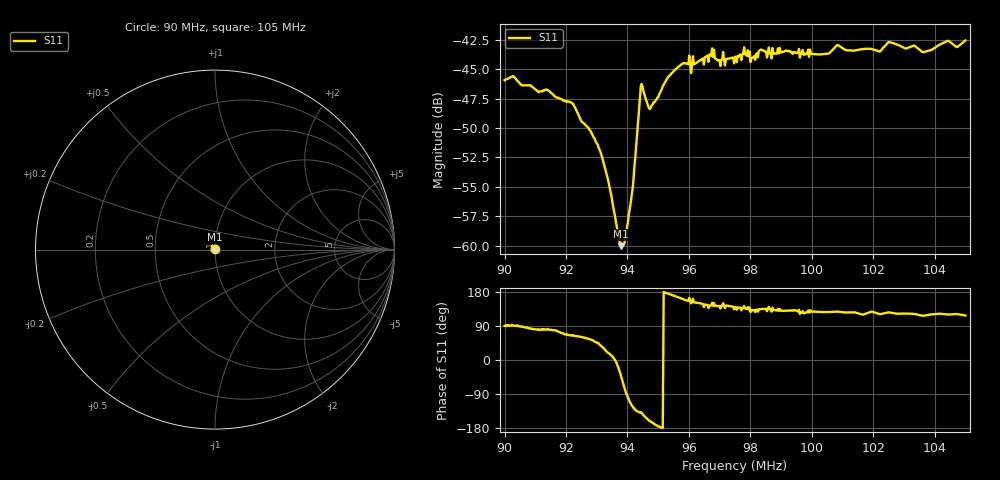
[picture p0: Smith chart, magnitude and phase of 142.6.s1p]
# HZ S RI R 50
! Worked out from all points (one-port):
!   505 points, 90 MHz to 105 MHz, reference 50 ohm
!   lowest |S11| = -60.0 dB at 93.78 MHz (marker M1), VSWR 1.00, Z = 50.1 - j0.0634 ohm
!   |S11| at or under -10 dB: start of sweep to end of sweep
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9e7  -2.57e-06 0.00504
9.026786e7  -0.000109 0.00526
9.187501e7  0.00139 0.00393
9.223215e7  0.00175 0.00361
9.306549e7  0.00189 0.00179
9.336311e7  0.00181 0.00063
9.375001e7  0.000879 -0.000541
9.377977e7  0.00077 -0.000633
9.389882e7  0.000291 -0.000986
9.410716e7  -0.000646 -0.00139
9.42262e7  -0.00133 -0.00173
9.440478e7  -0.00315 -0.0028
9.44643e7  -0.00369 -0.00317
9.476192e7  -0.00371 -0.00112
9.562502e7  -0.00554 0.00135
9.675597e7  -0.00601 0.00336
9.696431e7  -0.00487 0.00374
9.750002e7  -0.00483 0.00408
9.836312e7  -0.00479 0.00482
9.937503e7  -0.00418 0.005
1.00506e8  -0.00389 0.00525
1.008334e8  -0.00437 0.00563
1.0125e8  -0.00395 0.00548
1.022024e8  -0.00346 0.00571
1.025298e8  -0.00424 0.00597
1.03125e8  -0.00371 0.00585
1.036608e8  -0.00304 0.00591
1.05e8  -0.00343 0.0066
